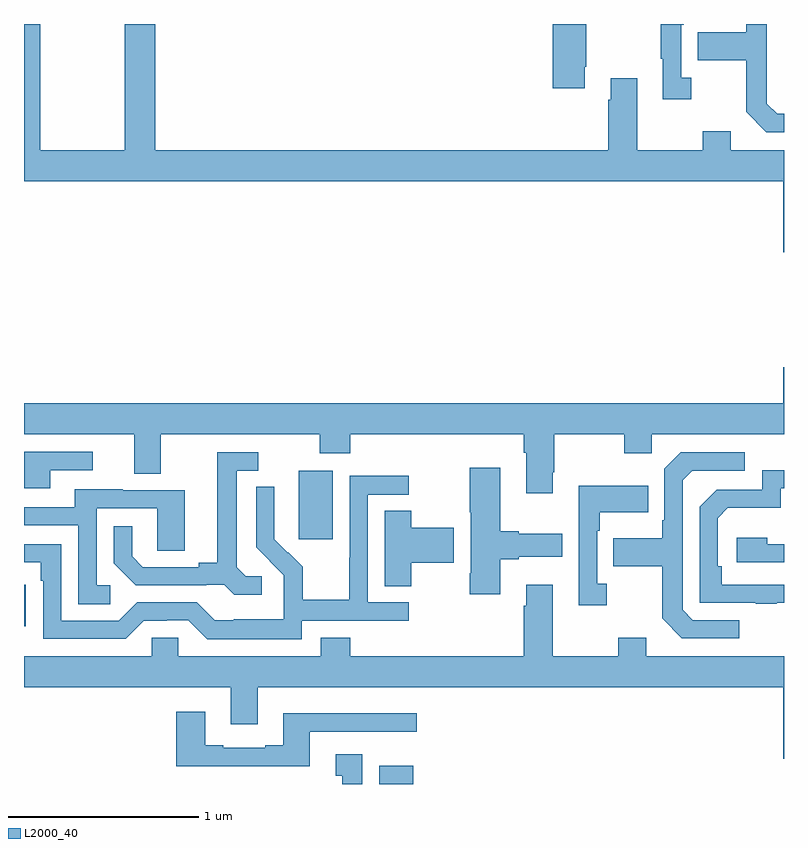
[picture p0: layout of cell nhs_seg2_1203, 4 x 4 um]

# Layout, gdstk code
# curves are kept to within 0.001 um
import gdstk
lib = gdstk.Library(unit=1e-6, precision=1e-09)
def R(c, l, rs):  # rectangles x0, y0, x1, y1
    for r in rs: c.add(gdstk.rectangle(r[:2], r[2:], *l))
def P(c, l, *ps):  # polygons
    for p in ps: c.add(gdstk.Polygon(p, *l))
L2000_40 = (2000, 40)

nhs_seg2_1203 = lib.new_cell('nhs_seg2_1203')
R(nhs_seg2_1203, L2000_40, [(174.869,641.8,175.048,641.896), (173,642.63,173.009,642.848), (174.446,643.089,174.625,643.45)])
P(nhs_seg2_1203, L2000_40, [(177,645.136),(176.719,645.136),(176.719,645.235),(176.572,645.235),(176.572,645.136),(176.227,645.136),(176.227,645.514),(176.087,645.514),(176.087,645.401),(176.075,645.401),(176.075,645.136),(173.69,645.136),(173.69,645.8),(173.53,645.8),(173.53,645.136),(173.085,645.136),(173.085,645.8),(173,645.8),(173,644.972),(176.996,644.972),(176.996,644.598),(177,644.598)],
  [(176.512,645.518),(176.46,645.518),(176.46,645.797),(176.473,645.797),(176.473,645.8),(176.352,645.8),(176.352,645.617),(176.363,645.617),(176.363,645.405),(176.512,645.405)],
  [(175.951,645.574),(175.959,645.574),(175.959,645.8),(175.784,645.8),(175.784,645.462),(175.951,645.462)],
  [(177,645.327),(176.964,645.327),(176.91,645.381),(176.91,645.8),(176.802,645.8),(176.802,645.757),(176.545,645.757),(176.545,645.61),(176.802,645.61),(176.802,645.337),(176.907,645.231),(177,645.231)],
  [(175.783,643.441),(175.791,643.441),(175.791,643.64),(176.158,643.64),(176.158,643.541),(176.304,643.541),(176.304,643.64),(177,643.64),(177,643.993),(176.996,643.993),(176.996,643.804),(173,643.804),(173,643.64),(173.579,643.64),(173.579,643.432),(173.719,643.432),(173.719,643.64),(174.556,643.64),(174.556,643.541),(174.716,643.541),(174.716,643.64),(175.631,643.64),(175.631,643.544),(175.643,643.544),(175.643,643.329),(175.783,643.329)],
  [(173.137,643.452),(173.362,643.452),(173.362,643.548),(173,643.548),(173,643.356),(173.137,643.356)],
  [(176.764,642.663),(176.52,642.663),(176.466,642.717),(176.466,643.398),(176.517,643.449),(176.794,643.449),(176.794,643.545),(176.457,643.545),(176.37,643.458),(176.37,643.189),(176.358,643.189),(176.358,643.093),(176.101,643.093),(176.101,642.946),(176.358,642.946),(176.358,642.673),(176.463,642.567),(176.764,642.567)],
  [(174.25,642.894),(174.168,642.894),(174.121,642.941),(174.121,643.449),(174.232,643.449),(174.232,643.545),(174.017,643.545),(174.017,642.965),(173.921,642.965),(173.921,642.942),(173.626,642.942),(173.569,642.999),(173.569,643.156),(173.472,643.156),(173.472,642.962),(173.588,642.846),(173.96,642.846),(173.96,642.849),(174.054,642.849),(174.106,642.797),(174.25,642.797)],
  [(175.507,642.983),(175.603,642.983),(175.603,642.995),(175.834,642.995),(175.834,643.117),(175.603,643.117),(175.603,643.13),(175.507,643.13),(175.507,643.465),(175.345,643.465),(175.345,643.231),(175.352,643.231),(175.352,642.91),(175.345,642.91),(175.345,642.798),(175.507,642.798)],
  [(176.963,642.753),(177,642.753),(177,642.849),(176.672,642.849),(176.672,642.946),(176.652,642.946),(176.652,643.2),(176.705,643.253),(176.982,643.253),(176.982,643.356),(177,643.356),(177,643.452),(176.886,643.452),(176.886,643.35),(176.646,643.35),(176.556,643.26),(176.556,642.753),(176.851,642.753),(176.851,642.748),(176.963,642.748)],
  [(174.462,642.66),(175.024,642.66),(175.024,642.756),(174.81,642.756),(174.81,643.323),(175.024,643.323),(175.024,643.422),(174.714,643.422),(174.714,642.992),(174.712,642.992),(174.712,642.769),(174.467,642.769),(174.467,642.943),(174.39,643.02),(174.387,643.017),(174.317,643.088),(174.318,643.364),(174.222,643.364),(174.222,643.046),(174.368,642.898),(174.368,642.801),(174.366,642.801),(174.366,642.667),(174.103,642.667),(174.103,642.663),(174.003,642.663),(173.91,642.756),(173.595,642.756),(173.499,642.66),(173.196,642.66),(173.196,643.062),(173,643.062),(173,642.966),(173.087,642.966),(173.087,642.869),(173.1,642.869),(173.1,642.564),(173.535,642.564),(173.631,642.66),(173.75,642.66),(173.75,642.663),(173.865,642.663),(173.965,642.563),(174.462,642.563)],
  [(176.068,642.854),(176.016,642.854),(176.016,643.133),(176.029,643.133),(176.029,643.229),(176.285,643.229),(176.285,643.369),(175.92,643.369),(175.92,642.741),(176.068,642.741)],
  [(173.455,642.846),(173.382,642.846),(173.382,643.251),(173.7,643.251),(173.7,643.027),(173.845,643.027),(173.845,643.347),(173.521,643.347),(173.521,643.351),(173.267,643.351),(173.267,643.257),(173,643.257),(173,643.161),(173.286,643.161),(173.286,642.745),(173.455,642.745)],
  [(175.038,642.965),(175.261,642.965),(175.261,643.148),(175.038,643.148),(175.038,643.238),(174.899,643.238),(174.899,642.841),(175.038,642.841)],
  [(177,643.062),(176.912,643.062),(176.912,643.096),(176.751,643.096),(176.751,642.966),(177,642.966)],
  [(174.089,642.114),(174.229,642.114),(174.229,642.308),(176.996,642.308),(176.996,641.934),(177,641.934),(177,642.472),(176.275,642.472),(176.275,642.571),(176.128,642.571),(176.128,642.472),(175.783,642.472),(175.783,642.85),(175.643,642.85),(175.643,642.737),(175.631,642.737),(175.631,642.472),(174.716,642.472),(174.716,642.571),(174.563,642.571),(174.563,642.472),(173.811,642.472),(173.811,642.57),(173.673,642.57),(173.673,642.472),(173,642.472),(173,642.308),(174.089,642.308)],
  [(174.505,642.075),(175.066,642.075),(175.066,642.172),(174.365,642.172),(174.365,642.004),(174.269,642.004),(174.269,641.991),(174.049,641.991),(174.049,642.004),(173.953,642.004),(173.953,642.181),(173.801,642.181),(173.801,641.894),(174.505,641.894)],
  [(174.781,641.956),(174.641,641.956),(174.641,641.843),(174.674,641.843),(174.674,641.8),(174.781,641.8)])

lib.write_gds('nhs_seg2_1203.gds')
